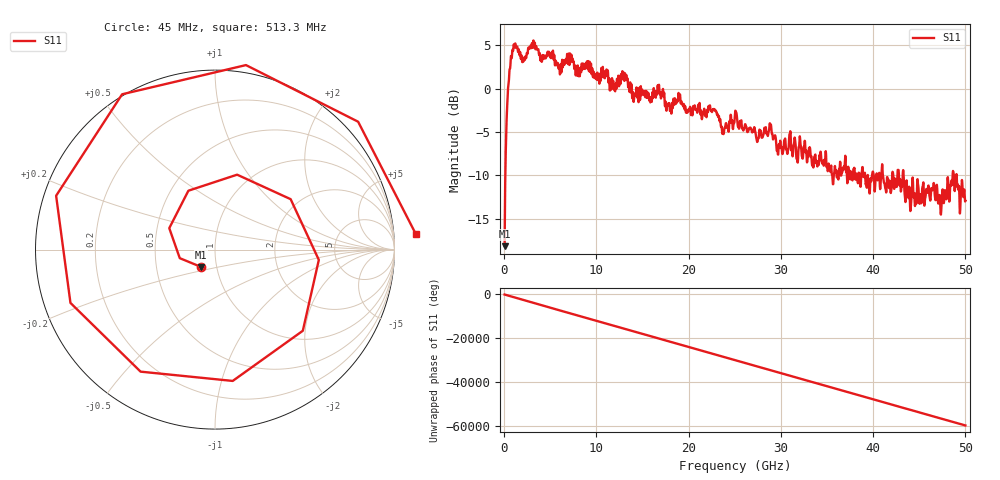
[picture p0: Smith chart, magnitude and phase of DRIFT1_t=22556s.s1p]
!Created with skrf (http://scikit-rf.org).
# Hz S RI R 50.0
!freq ReS11 ImS11
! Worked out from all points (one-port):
!   1601 points, 45 MHz to 50 GHz, reference 50 ohm
!   lowest |S11| = -18.2 dB at 45 MHz (marker M1), VSWR 1.28, Z = 42.1 - j8.28 ohm
!   |S11| at or under -10 dB: 41.06 GHz to 42.06 GHz (1.007 GHz wide, 2.42 % of centre); 43.3 GHz to 48.62 GHz (5.316 GHz wide, 11.6 % of centre); 49.05 GHz to end of sweep (the widest 3 of 24)
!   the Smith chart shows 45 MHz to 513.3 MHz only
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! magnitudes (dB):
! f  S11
! 45 MHz  -18.2
! 450.9 MHz  0.4
! 981.7 MHz  4.5
! 2.168 GHz  3.6
! 3.23 GHz  4.7
! 6.289 GHz  3.3
! 7.195 GHz  3.1
! 7.975 GHz  2.7
! 12.53 GHz  1.4
! 13.03 GHz  0.9
! 14.09 GHz  -0.9
! 18.78 GHz  -1.2
! 22.81 GHz  -2.5
! 23.74 GHz  -5.1
! 25.02 GHz  -2.8
! 27.43 GHz  -6.1
! 28.86 GHz  -4.2
! 29.77 GHz  -6.5
! 31.27 GHz  -7.8
! 35.54 GHz  -10.0
! 37.51 GHz  -10.5
! 39.42 GHz  -10.0
! 42.69 GHz  -9.4
! 43.76 GHz  -11.5
! 46.69 GHz  -12.4
! 47.22 GHz  -12.3
! 48.84 GHz  -11.8
! 50 GHz  -12.9
